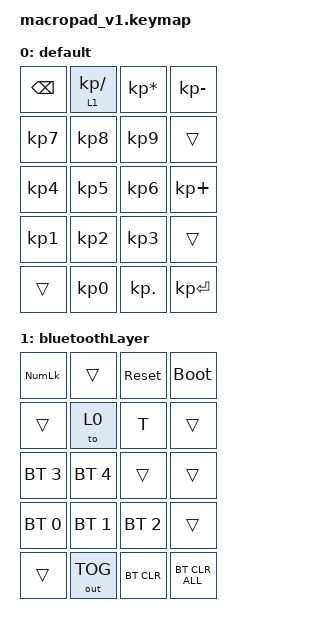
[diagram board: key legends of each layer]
#include <behaviors.dtsi>
#include <dt-bindings/zmk/keys.h>
#include <dt-bindings/zmk/bt.h>

/ {
    keymap {
        compatible = "zmk,keymap";

        default {           //Layer 0
            bindings = <
                &kp BSPC    &lt 1 KP_DIVIDE   &kp KP_MULTIPLY   &kp KP_MINUS
                &kp KP_N7   &kp KP_N8   &kp KP_N9   &trans
                &kp KP_N4   &kp KP_N5   &kp KP_N6   &kp KP_PLUS
                &kp KP_N1   &kp KP_N2   &kp KP_N3  &trans
                &trans  &kp KP_N0   &kp KP_DOT   &kp KP_ENTER
            >;
        };

        bluetoothLayer {    //Layer 1
            //  | -     | -     | PowerCycle    | Bootloader    |
            //  | -     | '0'   | 'T'           | -             |
            //  | BT3   | BT4   | -             | -             |
            //  | BT0   | BT1   | BT2           | -             |
            //  | Output Toggle | Clr           | ClrAll        |

            bindings = <
                &kp KP_NUMLOCK    &trans            &sys_reset        &bootloader
                &trans            &to 0             &kp T             &trans
                &bt BT_SEL 3      &bt BT_SEL 4      &trans            &trans
                &bt BT_SEL 0      &bt BT_SEL 1      &bt BT_SEL 2      &trans
                &trans            &out OUT_TOG      &bt BT_CLR        &bt BT_CLR_ALL
            >;
        };
    };
};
